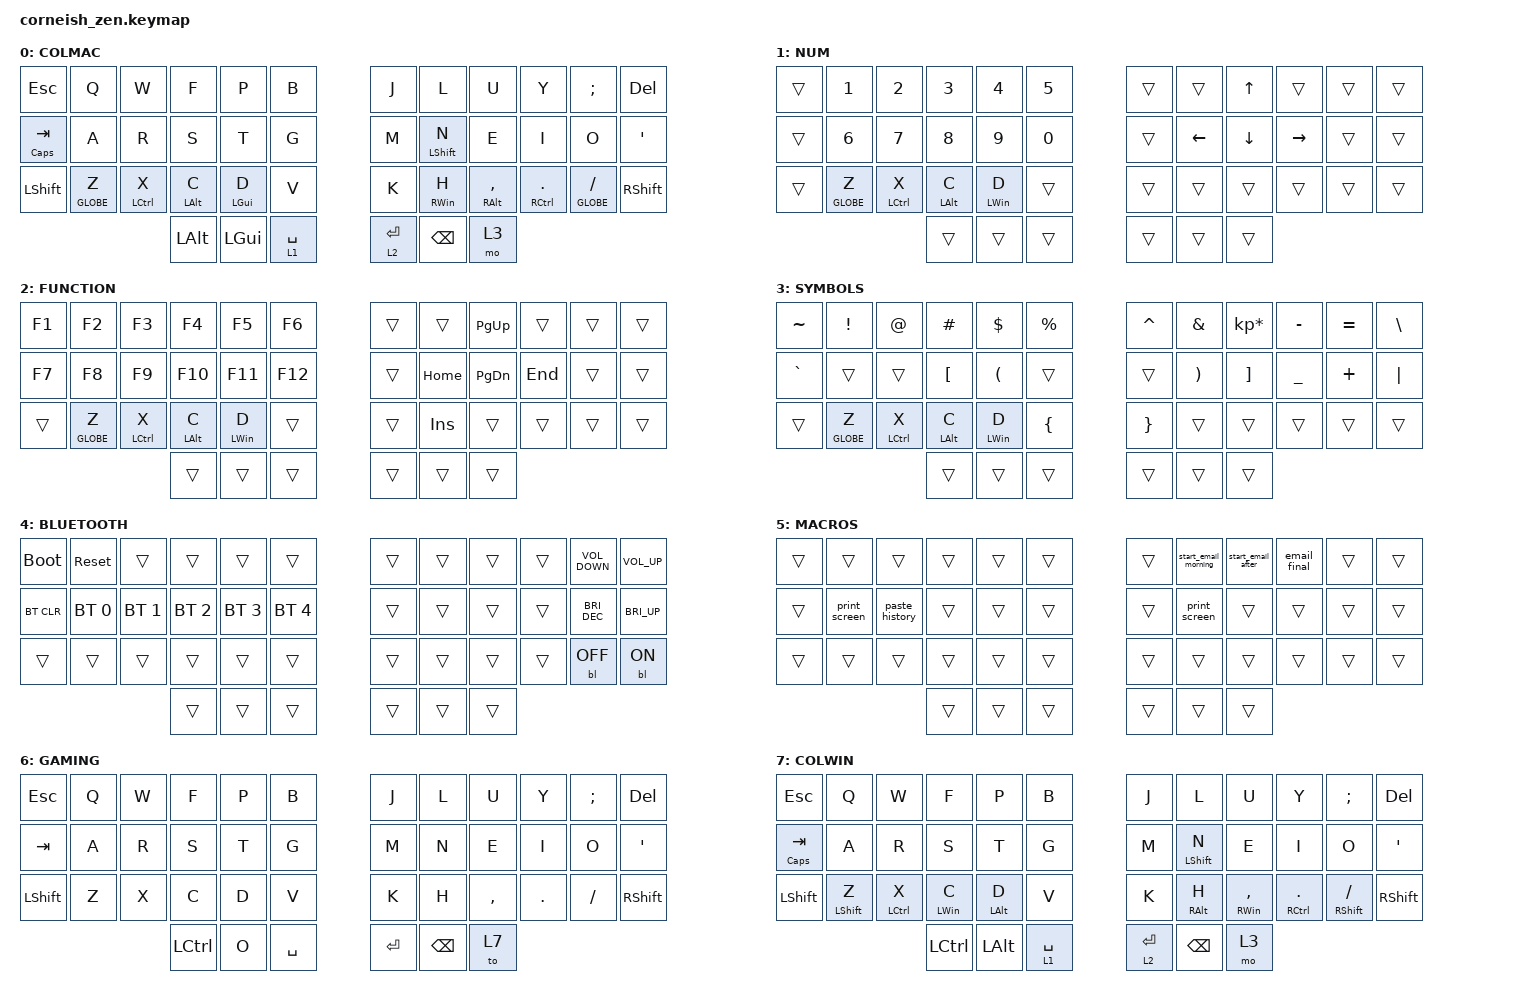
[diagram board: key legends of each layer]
/*
 * Copyright (c) 2020 The ZMK Contributors
 *
 * SPDX-License-Identifier: MIT
 */

#include <dt-bindings/zmk/mouse.h>
#include <behaviors.dtsi>
#include <dt-bindings/zmk/backlight.h>
#include <dt-bindings/zmk/bt.h>
#include <dt-bindings/zmk/keys.h>

/ {
    combos {
        compatible = "zmk,combos";

        l {
            bindings = <&sl 4>;
            key-positions = <5 17>;
        };

        macros {
            bindings = <&sl 5>;
            key-positions = <16 19>;
        };

        gaming {
            bindings = <&to 6>;
            key-positions = <6 18>;
        };

        to_win {
            bindings = <&to 7>;
            key-positions = <11 23>;
        };

        to_mac {
            bindings = <&to 0>;
            key-positions = <10 22>;
        };
    };

    macros {
        print_screen: print_screen {
            compatible = "zmk,behavior-macro";
            #binding-cells = <0>;
            bindings =
                <&macro_pause_for_release>,
                <&kp LEFT_SHIFT &kp LEFT_CONTROL &kp LEFT_COMMAND &kp NUMBER_4>,
                <&macro_release>;

            label = "PRINT_SCREEN";
        };

        paste_history: paste_history {
            compatible = "zmk,behavior-macro";
            #binding-cells = <0>;
            bindings = <&macro_press>, <&kp LEFT_WIN &kp V>, <&macro_release>;

            label = "PASTE_HISTORY";
        };

        email_final: create_table {
            compatible = "zmk,behavior-macro";
            #binding-cells = <0>;
            bindings = <&kp LS(R) &kp E &kp G &kp A &kp R &kp D &kp S &kp COMMA &kp RET &kp LS(D) &kp A &kp N &kp I &kp E &kp L &kp SPACE &kp LS(J) &kp I &kp N>;
            label = "CREATE_TABLE";
        };

        start_email_morning: start_email {
            compatible = "zmk,behavior-macro";
            #binding-cells = <0>;
            bindings = <&kp LS(G) &kp O &kp O &kp D &kp SPACE &kp M &kp O &kp R &kp N &kp I &kp N &kp G &kp SPACE &kp COMMA &kp SPACE &kp LS(I) &kp SPACE &kp H &kp O &kp P &kp E &kp SPACE &kp Y &kp O &kp U &kp SQT &kp R &kp E &kp SPACE &kp D &kp O &kp I &kp N &kp G &kp SPACE &kp W &kp E &kp L &kp L &kp COMMA>;
            label = "START_EMAIL";
        };

        start_email_after: start_email_after {
            compatible = "zmk,behavior-macro";
            #binding-cells = <0>;
            bindings = <&kp LS(G) &kp O &kp O &kp D &kp SPACE &kp A &kp F &kp T &kp E &kp R &kp N &kp O &kp O &kp N &kp SPACE &kp COMMA &kp SPACE &kp LS(I) &kp SPACE &kp H &kp O &kp P &kp E &kp SPACE &kp Y &kp O &kp U &kp SQT &kp R &kp E &kp SPACE &kp D &kp O &kp I &kp N &kp G &kp SPACE &kp W &kp E &kp L &kp L &kp COMMA>;
            label = "START_EMAIL_AFTER";
        };
    };

    keymap {
        compatible = "zmk,keymap";

        COLMAC {
            display-name = "COLMAC";
            bindings = <
&kp ESC           &kp Q        &kp W               &kp F           &kp P           &kp B          &kp J        &kp L             &kp U                &kp Y                  &kp SEMICOLON    &kp DEL
&mt CAPSLOCK TAB  &kp A        &kp R               &kp S           &kp T           &kp G          &kp M        &mt LEFT_SHIFT N  &kp E                &kp I                  &kp O            &kp SQT
&kp LSHIFT        &mt GLOBE Z  &mt LEFT_CONTROL X  &mt LEFT_ALT C  &mt LEFT_GUI D  &kp V          &kp K        &mt RIGHT_WIN H   &mt RIGHT_ALT COMMA  &mt RIGHT_CONTROL DOT  &mt GLOBE SLASH  &kp RIGHT_SHIFT
                                                   &kp LEFT_ALT    &kp LEFT_GUI    &lt 1 SPACE    &lt 2 ENTER  &kp BACKSPACE     &mo 3
            >;
        };

        num {
            // -----------------------------------------------------------------------------------------
            // |  TAB |  1  |  2  |  3  |  4  |  5  |   |  6  |  7  |  8  |  9  |  0  | BKSP |
            // | BTCLR| BT1 | BT2 | BT3 | BT4 | BT5 |   | LFT | DWN |  UP | RGT |     |      |
            // | SHFT |     |     |     |     |     |   |     |     |     |     |     |      |
            //                    | GUI |     | SPC |   | ENT |     | ALT |

            display-name = "NUM";
            bindings = <
&trans  &kp NUMBER_1  &kp NUMBER_2        &kp NUMBER_3    &kp NUMBER_4    &kp N5    &trans  &trans          &kp UP_ARROW    &trans     &trans  &trans
&trans  &kp NUMBER_6  &kp N7              &kp N8          &kp N9          &kp N0    &trans  &kp LEFT_ARROW  &kp DOWN_ARROW  &kp RIGHT  &trans  &trans
&trans  &mt GLOBE Z   &mt LEFT_CONTROL X  &mt LEFT_ALT C  &mt LEFT_WIN D  &trans    &trans  &trans          &trans          &trans     &trans  &trans
                                          &trans          &trans          &trans    &trans  &trans          &trans
            >;
        };

        FUNCTION {
            // -----------------------------------------------------------------------------------------
            // |  TAB |  !  |  @  |  #  |  $  |  %  |   |  ^  |  &  |  *  |  (  |  )  | BKSP |
            // | CTRL |     |     |     |     |     |   |  -  |  =  |  [  |  ]  |  \  |  `   |
            // | SHFT |     |     |     |     |     |   |  _  |  +  |  {  |  }  | "|" |  ~   |
            //                    | GUI |     | SPC |   | ENT |     | ALT |

            bindings = <
&kp F1  &kp F2       &kp F3              &kp F4          &kp F5          &kp F6     &trans  &trans    &kp PG_UP      &trans   &trans  &trans
&kp F7  &kp F8       &kp F9              &kp F10         &kp F11         &kp F12    &trans  &kp HOME  &kp PAGE_DOWN  &kp END  &trans  &trans
&trans  &mt GLOBE Z  &mt LEFT_CONTROL X  &mt LEFT_ALT C  &mt LEFT_WIN D  &trans     &trans  &kp INS   &trans         &trans   &trans  &trans
                                         &trans          &trans          &trans     &trans  &trans    &trans
            >;
        };

        symbols {
            bindings = <
&kp TILDE  &kp EXCL     &kp AT              &kp HASH          &kp DLLR              &kp PRCNT         &kp CARET        &kp AMPS               &kp KP_MULTIPLY    &kp MINUS       &kp EQUAL  &kp BACKSLASH
&kp GRAVE  &trans       &trans              &kp LEFT_BRACKET  &kp LEFT_PARENTHESIS  &trans            &trans           &kp RIGHT_PARENTHESIS  &kp RIGHT_BRACKET  &kp UNDERSCORE  &kp PLUS   &kp PIPE
&trans     &mt GLOBE Z  &mt LEFT_CONTROL X  &mt LEFT_ALT C    &mt LEFT_WIN D        &kp LEFT_BRACE    &kp RIGHT_BRACE  &trans                 &trans             &trans          &trans     &trans
                                            &trans            &trans                &trans            &trans           &trans                 &trans
            >;

            display-name = "SYMBOLS";
        };

        BLUETOOTH {
            bindings = <
&bootloader  &sys_reset    &trans        &trans        &trans        &trans          &trans  &trans  &trans  &trans  &kp C_VOLUME_DOWN  &kp C_VOLUME_UP
&bt BT_CLR   &bt BT_SEL 0  &bt BT_SEL 1  &bt BT_SEL 2  &bt BT_SEL 3  &bt BT_SEL 4    &trans  &trans  &trans  &trans  &kp C_BRI_DEC      &kp C_BRI_UP
&trans       &trans        &trans        &trans        &trans        &trans          &trans  &trans  &trans  &trans  &bl BL_OFF         &bl BL_ON
                                         &trans        &trans        &trans          &trans  &trans  &trans
            >;
        };

        MACROS {
            bindings = <
&trans  &trans         &trans          &trans  &trans  &trans    &trans  &start_email_morning  &start_email_after  &email_final  &trans  &trans
&trans  &print_screen  &paste_history  &trans  &trans  &trans    &trans  &print_screen         &trans              &trans        &trans  &trans
&trans  &trans         &trans          &trans  &trans  &trans    &trans  &trans                &trans              &trans        &trans  &trans
                                       &trans  &trans  &trans    &trans  &trans                &trans
            >;
        };

        GAMING {
            bindings = <
&kp ESC    &kp Q  &kp W  &kp F      &kp P  &kp B        &kp J      &kp L     &kp U      &kp Y    &kp SEMI  &kp DEL
&kp TAB    &kp A  &kp R  &kp S      &kp T  &kp G        &kp M      &kp N     &kp E      &kp I    &kp O     &kp SQT
&kp LSHFT  &kp Z  &kp X  &kp C      &kp D  &kp V        &kp K      &kp H     &kp COMMA  &kp DOT  &kp FSLH  &kp RSHFT
                         &kp LCTRL  &kp O  &kp SPACE    &kp ENTER  &kp BSPC  &to 7
            >;
        };

        COLWIN {
            // -----------------------------------------------------------------------------------------
            // |  TAB |  Q  |  W  |  E  |  R  |  T  |   |  Y  |  U   |  I  |  O  |  P  | BKSP |
            // | CTRL |  A  |  S  |  D  |  F  |  G  |   |  H  |  J   |  K  |  L  |  ;  |  '   |
            // | SHFT |  Z  |  X  |  C  |  V  |  B  |   |  N  |  M   |  ,  |  .  |  /  | ESC  |
            //                    | GUI | LWR | SPC |   | ENT | RSE  | ALT |

            display-name = "COLWIN";
            bindings = <
&kp ESC       &kp Q             &kp W               &kp F             &kp P           &kp B          &kp J        &kp L             &kp U                &kp Y                  &kp SEMICOLON          &kp DEL
&mt CLCK TAB  &kp A             &kp R               &kp S             &kp T           &kp G          &kp M        &mt LEFT_SHIFT N  &kp E                &kp I                  &kp O                  &kp SQT
&kp LSHIFT    &mt LEFT_SHIFT Z  &mt LEFT_CONTROL X  &mt LEFT_WIN C    &mt LEFT_ALT D  &kp V          &kp K        &mt RIGHT_ALT H   &mt RIGHT_WIN COMMA  &mt RIGHT_CONTROL DOT  &mt RIGHT_SHIFT SLASH  &kp RIGHT_SHIFT
                                                    &kp LEFT_CONTROL  &kp LEFT_ALT    &lt 1 SPACE    &lt 2 ENTER  &kp BACKSPACE     &mo 3
            >;
        };
    };
};
